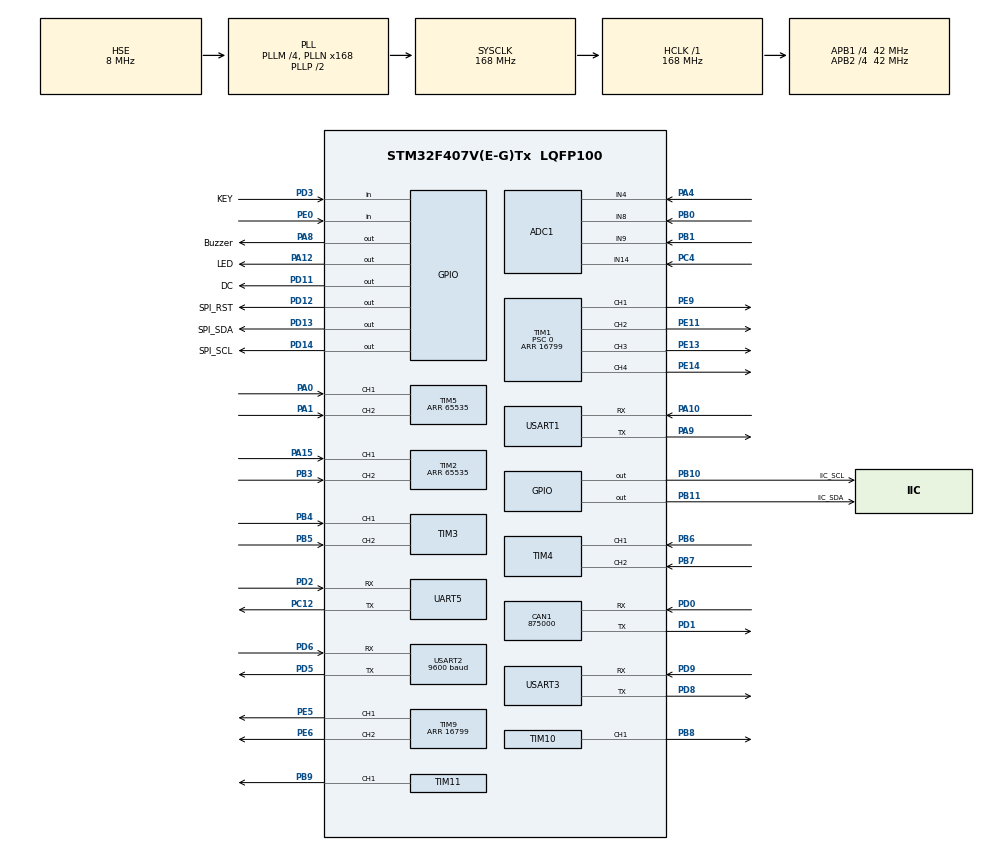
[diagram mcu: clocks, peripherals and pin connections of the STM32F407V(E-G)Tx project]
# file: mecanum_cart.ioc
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ADC1.Channel-0\#ChannelRegularConversion=ADC_CHANNEL_8
ADC1.Channel-1\#ChannelRegularConversion=ADC_CHANNEL_9
ADC1.Channel-2\#ChannelRegularConversion=ADC_CHANNEL_4
ADC1.Channel-3\#ChannelRegularConversion=ADC_CHANNEL_14
ADC1.ContinuousConvMode=ENABLE
ADC1.DMAContinuousRequests=ENABLE
ADC1.NbrOfConversion=4
ADC1.NbrOfConversionFlag=1
ADC1.Rank-0\#ChannelRegularConversion=1
ADC1.Rank-1\#ChannelRegularConversion=2
ADC1.Rank-2\#ChannelRegularConversion=3
ADC1.Rank-3\#ChannelRegularConversion=4
ADC1.SamplingTime-0\#ChannelRegularConversion=ADC_SAMPLETIME_56CYCLES
ADC1.SamplingTime-1\#ChannelRegularConversion=ADC_SAMPLETIME_56CYCLES
ADC1.SamplingTime-2\#ChannelRegularConversion=ADC_SAMPLETIME_56CYCLES
ADC1.SamplingTime-3\#ChannelRegularConversion=ADC_SAMPLETIME_56CYCLES
ADC1.master=1
CAN1.CalculateBaudRate=875000
CAN1.CalculateTimeBit=1142
CAN1.CalculateTimeQuantum=380.95238095238096
Dma.ADC1.0.Direction=DMA_PERIPH_TO_MEMORY
Dma.ADC1.0.FIFOMode=DMA_FIFOMODE_DISABLE
Dma.ADC1.0.Instance=DMA2_Stream0
Dma.ADC1.0.MemDataAlignment=DMA_MDATAALIGN_HALFWORD
Dma.ADC1.0.MemInc=DMA_MINC_ENABLE
Dma.ADC1.0.Mode=DMA_CIRCULAR
Dma.ADC1.0.PeriphDataAlignment=DMA_PDATAALIGN_HALFWORD
Dma.ADC1.0.PeriphInc=DMA_PINC_DISABLE
Dma.ADC1.0.Priority=DMA_PRIORITY_LOW
Dma.Request0=ADC1
FREERTOS.MEMORY_ALLOCATION=0
FREERTOS.Tasks01=defaultTask,0,256,StartDefaultTask,Default,NULL,Dynamic,NULL,NULL
FREERTOS.configMINIMAL_STACK_SIZE=256
FREERTOS.configTOTAL_HEAP_SIZE=15360*2
FREERTOS.configUSE_NEWLIB_REENTRANT=1
Mcu.Family=STM32F4
Mcu.Name=STM32F407V(E-G)Tx
Mcu.Package=LQFP100
NVIC.CAN1_RX0_IRQn=true\:5\:0\:false\:false\:true\:true\:true\:true\:true
NVIC.DMA2_Stream0_IRQn=true\:5\:0\:false\:false\:true\:false\:true\:true\:true
NVIC.PriorityGroup=NVIC_PRIORITYGROUP_4
NVIC.TIM2_IRQn=true\:5\:0\:false\:false\:true\:true\:true\:true\:true
NVIC.TIM3_IRQn=true\:5\:0\:false\:false\:true\:true\:true\:true\:true
NVIC.TIM4_IRQn=true\:5\:0\:false\:false\:true\:true\:true\:true\:true
NVIC.TIM5_IRQn=true\:5\:0\:false\:false\:true\:true\:true\:true\:true
NVIC.TIM6_DAC_IRQn=true\:15\:0\:false\:false\:true\:false\:true\:true\:true
NVIC.TimeBase=TIM6_DAC_IRQn
NVIC.TimeBaseIP=TIM6
NVIC.UART5_IRQn=true\:5\:0\:false\:false\:true\:true\:true\:true\:true
NVIC.USART1_IRQn=true\:5\:0\:false\:false\:true\:true\:true\:true\:true
NVIC.USART2_IRQn=true\:5\:0\:false\:false\:true\:true\:true\:true\:true
NVIC.USART3_IRQn=true\:5\:0\:false\:false\:true\:true\:true\:true\:true
PA0-WKUP.Signal=S_TIM5_CH1
PA1.Signal=S_TIM5_CH2
PA10.Mode=Asynchronous
PA10.Signal=USART1_RX
PA12.GPIO_Label=LED
PA12.Signal=GPIO_Output
PA13.Mode=Serial_Wire
PA13.Signal=SYS_JTMS-SWDIO
PA14.Mode=Serial_Wire
PA14.Signal=SYS_JTCK-SWCLK
PA15.Signal=S_TIM2_CH1_ETR
PA4.Signal=ADCx_IN4
PA8.GPIO_Label=Buzzer
PA8.Signal=GPIO_Output
PA9.Mode=Asynchronous
PA9.Signal=USART1_TX
PB0.Signal=ADCx_IN8
PB1.Signal=ADCx_IN9
PB10.GPIO_Label=IIC_SCL
PB10.GPIO_PuPd=GPIO_PULLUP
PB10.Signal=GPIO_Output
PB11.GPIO_Label=IIC_SDA
PB11.GPIO_PuPd=GPIO_PULLUP
PB11.Signal=GPIO_Output
PB3.Signal=S_TIM2_CH2
PB4.Signal=S_TIM3_CH1
PB5.Signal=S_TIM3_CH2
PB6.Signal=S_TIM4_CH1
PB7.Signal=S_TIM4_CH2
PB8.Signal=S_TIM10_CH1
PB9.Signal=S_TIM11_CH1
PC12.Mode=Asynchronous
PC12.Signal=UART5_TX
PC4.Signal=ADCx_IN14
PD0.Mode=CAN_Activate
PD0.Signal=CAN1_RX
PD1.Mode=CAN_Activate
PD1.Signal=CAN1_TX
PD11.GPIO_Label=DC
PD11.Signal=GPIO_Output
PD12.GPIO_Label=SPI_RST
PD12.Signal=GPIO_Output
PD13.GPIO_Label=SPI_SDA
PD13.Signal=GPIO_Output
PD14.GPIO_Label=SPI_SCL
PD14.Signal=GPIO_Output
PD2.Mode=Asynchronous
PD2.Signal=UART5_RX
PD3.GPIO_Label=KEY
PD3.Signal=GPIO_Input
PD5.Mode=Asynchronous
PD5.Signal=USART2_TX
PD6.Mode=Asynchronous
PD6.Signal=USART2_RX
PD8.Mode=Asynchronous
PD8.Signal=USART3_TX
PD9.Mode=Asynchronous
PD9.Signal=USART3_RX
PE0.Signal=GPIO_Input
PE11.Signal=S_TIM1_CH2
PE13.Signal=S_TIM1_CH3
PE14.Signal=S_TIM1_CH4
PE5.Signal=S_TIM9_CH1
PE6.Signal=S_TIM9_CH2
PE9.Signal=S_TIM1_CH1
PH0-OSC_IN.Mode=HSE-External-Oscillator
PH0-OSC_IN.Signal=RCC_OSC_IN
PH1-OSC_OUT.Mode=HSE-External-Oscillator
PH1-OSC_OUT.Signal=RCC_OSC_OUT
ProjectManager.HeapSize=0x200
ProjectManager.StackSize=0x400
ProjectManager.TargetToolchain=STM32CubeIDE
RCC.48MHZClocksFreq_Value=84000000
RCC.AHBFreq_Value=168000000
RCC.APB1CLKDivider=RCC_HCLK_DIV4
RCC.APB1Freq_Value=42000000
RCC.APB1TimFreq_Value=84000000
RCC.APB2CLKDivider=RCC_HCLK_DIV4
RCC.APB2Freq_Value=42000000
RCC.APB2TimFreq_Value=84000000
RCC.CortexFreq_Value=168000000
RCC.HCLKFreq_Value=168000000
RCC.HSE_VALUE=8000000
RCC.HSI_VALUE=16000000
RCC.LSE_VALUE=32768
RCC.PLLM=4
RCC.PLLN=168
RCC.PLLSourceVirtual=RCC_PLLSOURCE_HSE
RCC.SYSCLKFreq_VALUE=168000000
RCC.SYSCLKSource=RCC_SYSCLKSOURCE_PLLCLK
RCC.VCOOutputFreq_Value=336000000
SH.ADCx_IN14.0=ADC1_IN14,IN14
SH.ADCx_IN4.0=ADC1_IN4,IN4
SH.ADCx_IN8.0=ADC1_IN8,IN8
SH.ADCx_IN9.0=ADC1_IN9,IN9
SH.S_TIM10_CH1.0=TIM10_CH1,PWM Generation1 CH1
SH.S_TIM11_CH1.0=TIM11_CH1,PWM Generation1 CH1
SH.S_TIM1_CH1.0=TIM1_CH1,PWM Generation1 CH1
SH.S_TIM1_CH2.0=TIM1_CH2,PWM Generation2 CH2
SH.S_TIM1_CH3.0=TIM1_CH3,PWM Generation3 CH3
SH.S_TIM1_CH4.0=TIM1_CH4,PWM Generation4 CH4
SH.S_TIM2_CH1_ETR.0=TIM2_CH1,Encoder_Interface
SH.S_TIM2_CH2.0=TIM2_CH2,Encoder_Interface
SH.S_TIM3_CH1.0=TIM3_CH1,Encoder_Interface
SH.S_TIM3_CH2.0=TIM3_CH2,Encoder_Interface
SH.S_TIM4_CH1.0=TIM4_CH1,Encoder_Interface
SH.S_TIM4_CH2.0=TIM4_CH2,Encoder_Interface
SH.S_TIM5_CH1.0=TIM5_CH1,Encoder_Interface
SH.S_TIM5_CH2.0=TIM5_CH2,Encoder_Interface
SH.S_TIM9_CH1.0=TIM9_CH1,PWM Generation1 CH1
SH.S_TIM9_CH2.0=TIM9_CH2,PWM Generation2 CH2
TIM1.Channel-PWM\ Generation1\ CH1=TIM_CHANNEL_1
TIM1.Channel-PWM\ Generation2\ CH2=TIM_CHANNEL_2
TIM1.Channel-PWM\ Generation3\ CH3=TIM_CHANNEL_3
TIM1.Channel-PWM\ Generation4\ CH4=TIM_CHANNEL_4
TIM1.Period=16799
TIM1.Prescaler=0
TIM10.Channel=TIM_CHANNEL_1
TIM10.Period=16799
TIM11.Channel=TIM_CHANNEL_1
TIM11.Period=16799
TIM2.Period=65535
TIM5.Period=65535
TIM9.Channel-PWM\ Generation1\ CH1=TIM_CHANNEL_1
TIM9.Channel-PWM\ Generation2\ CH2=TIM_CHANNEL_2
TIM9.Period=16799
UART5.VirtualMode=Asynchronous
USART1.VirtualMode=VM_ASYNC
USART2.BaudRate=9600
USART2.VirtualMode=VM_ASYNC
USART3.VirtualMode=VM_ASYNC
VP_FREERTOS_VS_CMSIS_V1.Mode=CMSIS_V1
VP_SYS_VS_tim6.Mode=TIM6
VP_TIM10_VS_ClockSourceINT.Mode=Enable_Timer
VP_TIM11_VS_ClockSourceINT.Mode=Enable_Timer
VP_TIM1_VS_ClockSourceINT.Mode=Internal
VP_TIM9_VS_ClockSourceINT.Mode=Internal
board=custom

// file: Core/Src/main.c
/* USER CODE BEGIN Header */
/**
 ******************************************************************************
 * @file           : main.c
 * @brief          : Main program body
 ******************************************************************************
 * @attention
 *
 * Copyright (c) 2024 STMicroelectronics.
 * All rights reserved.
 *
 * This software is licensed under terms that can be found in the LICENSE file
 * in the root directory of this software component.
 * If no LICENSE file comes with this software, it is provided AS-IS.
 *
 ******************************************************************************
 */
/* USER CODE END Header */
#include "main.h"
#include "cmsis_os.h"
#include "adc.h"
#include "can.h"
#include "dma.h"
#include "tim.h"
#include "usart.h"
#include "gpio.h"

void SystemClock_Config(void);
void MX_FREERTOS_Init(void);

/* USER CODE BEGIN 0 */
TaskHandle_t StartTask_Handler;

void start_task() {
  taskENTER_CRITICAL(); // Enter the critical area //??????????

  BaseType_t xReturned;
  xReturned = xTaskCreate((TaskFunction_t)balance_task, (const char *)NULL,
                          (configSTACK_DEPTH_TYPE)512, (void *)NULL,
                          (UBaseType_t)4, (TaskHandle_t *)NULL);
  xReturned = xTaskCreate((TaskFunction_t)MPU6050_task, (const char *)NULL,
                          (configSTACK_DEPTH_TYPE)256, (void *)NULL,
                          (UBaseType_t)3, (TaskHandle_t *)NULL);

  xReturned = xTaskCreate((TaskFunction_t)led_task, (const char *)NULL,
                          (configSTACK_DEPTH_TYPE)128, (void *)NULL,
                          (UBaseType_t)3, (TaskHandle_t *)NULL);

  xReturned = xTaskCreate((TaskFunction_t)oled_task, (const char *)NULL,
                          (configSTACK_DEPTH_TYPE)512, (void *)NULL,
                          (UBaseType_t)3, (TaskHandle_t *)NULL);

  xReturned = xTaskCreate((TaskFunction_t)data_task, (const char *)NULL,
                          (configSTACK_DEPTH_TYPE)512, (void *)NULL,
                          (UBaseType_t)4, (TaskHandle_t *)NULL);
  vTaskDelete(StartTask_Handler); // Delete the start task

  taskEXIT_CRITICAL(); // Exit the critical section
}
/* USER CODE END 0 */

int main(void)
{

  /* MCU Configuration--------------------------------------------------------*/

  /* Reset of all peripherals, Initializes the Flash interface and the Systick. */
  HAL_Init();

  /* Configure the system clock */
  SystemClock_Config();

  /* Initialize all configured peripherals */
  MX_GPIO_Init();
  MX_DMA_Init();
  MX_USART3_UART_Init();
  MX_TIM1_Init();
  MX_TIM9_Init();
  MX_TIM10_Init();
  MX_TIM11_Init();
  MX_ADC1_Init();
  MX_USART2_UART_Init();
  MX_TIM2_Init();
  MX_TIM3_Init();
  MX_TIM4_Init();
  MX_TIM5_Init();
  MX_CAN1_Init();
  MX_UART5_Init();
  MX_USART1_UART_Init();
  /* USER CODE BEGIN 2 */
  // Create the start task
  xTaskCreate((TaskFunction_t)start_task, // Task function
              (const char *)"start_task", // Task name
              (uint16_t)256,              // Task stack size
              (void *)NULL,   // Arguments passed to the task function
              (UBaseType_t)1, // Task priority
              (TaskHandle_t *)&StartTask_Handler); // Task handle
  vTaskStartScheduler();                           // Enables task scheduling

  /* USER CODE END 2 */

  /* Call init function for freertos objects (in freertos.c) */
  MX_FREERTOS_Init();

  /* Start scheduler */
  osKernelStart();

  /* We should never get here as control is now taken by the scheduler */
  /* Infinite loop */
  while (1) {

  }
}

void SystemClock_Config(void)
{
  RCC_OscInitTypeDef RCC_OscInitStruct = {0};
  RCC_ClkInitTypeDef RCC_ClkInitStruct = {0};

  /** Configure the main internal regulator output voltage
  */
  __HAL_RCC_PWR_CLK_ENABLE();
  __HAL_PWR_VOLTAGESCALING_CONFIG(PWR_REGULATOR_VOLTAGE_SCALE1);

  /** Initializes the RCC Oscillators according to the specified parameters
  * in the RCC_OscInitTypeDef structure.
  */
  RCC_OscInitStruct.OscillatorType = RCC_OSCILLATORTYPE_HSE;
  RCC_OscInitStruct.HSEState = RCC_HSE_ON;
  RCC_OscInitStruct.PLL.PLLState = RCC_PLL_ON;
  RCC_OscInitStruct.PLL.PLLSource = RCC_PLLSOURCE_HSE;
  RCC_OscInitStruct.PLL.PLLM = 4;
  RCC_OscInitStruct.PLL.PLLN = 168;
  RCC_OscInitStruct.PLL.PLLP = RCC_PLLP_DIV2;
  RCC_OscInitStruct.PLL.PLLQ = 4;
  if (HAL_RCC_OscConfig(&RCC_OscInitStruct) != HAL_OK)
  {
    Error_Handler();
  }

  /** Initializes the CPU, AHB and APB buses clocks
  */
  RCC_ClkInitStruct.ClockType = RCC_CLOCKTYPE_HCLK|RCC_CLOCKTYPE_SYSCLK
                              |RCC_CLOCKTYPE_PCLK1|RCC_CLOCKTYPE_PCLK2;
  RCC_ClkInitStruct.SYSCLKSource = RCC_SYSCLKSOURCE_PLLCLK;
  RCC_ClkInitStruct.AHBCLKDivider = RCC_SYSCLK_DIV1;
  RCC_ClkInitStruct.APB1CLKDivider = RCC_HCLK_DIV4;
  RCC_ClkInitStruct.APB2CLKDivider = RCC_HCLK_DIV4;

  if (HAL_RCC_ClockConfig(&RCC_ClkInitStruct, FLASH_LATENCY_5) != HAL_OK)
  {
    Error_Handler();
  }
}

void HAL_TIM_PeriodElapsedCallback(TIM_HandleTypeDef *htim)
{
  if (htim->Instance == TIM6) {
    HAL_IncTick();
  }
}

void Error_Handler(void)
{
  __disable_irq();
  while (1) {
  }
}

#ifdef  USE_FULL_ASSERT
/**
  * @brief  Reports the name of the source file and the source line number
  *         where the assert_param error has occurred.
  * @param  file: pointer to the source file name
  * @param  line: assert_param error line source number
  * @retval None
  */
void assert_failed(uint8_t *file, uint32_t line)
{
  /* USER CODE BEGIN 6 */
  /* User can add his own implementation to report the file name and line
     number, ex: printf("Wrong parameters value: file %s on line %d\r\n", file,
     line) */
  /* USER CODE END 6 */
}
#endif /* USE_FULL_ASSERT */

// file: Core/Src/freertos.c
/* USER CODE BEGIN Header */
/**
 ******************************************************************************
 * File Name          : freertos.c
 * Description        : Code for freertos applications
 ******************************************************************************
 * @attention
 *
 * Copyright (c) 2024 STMicroelectronics.
 * All rights reserved.
 *
 * This software is licensed under terms that can be found in the LICENSE file
 * in the root directory of this software component.
 * If no LICENSE file comes with this software, it is provided AS-IS.
 *
 ******************************************************************************
 */
/* USER CODE END Header */

#include "FreeRTOS.h"
#include "task.h"
#include "main.h"
#include "cmsis_os.h"

osThreadId defaultTaskHandle;

void StartDefaultTask(void const * argument);

void MX_FREERTOS_Init(void); /* (MISRA C 2004 rule 8.1) */

void MX_FREERTOS_Init(void) {

  /* Create the thread(s) */
  /* definition and creation of defaultTask */
  osThreadDef(defaultTask, StartDefaultTask, osPriorityNormal, 0, 256);
  defaultTaskHandle = osThreadCreate(osThread(defaultTask), NULL);

}

void StartDefaultTask(void const * argument)
{
  for (;;) {
    osDelay(1);
  }
}
